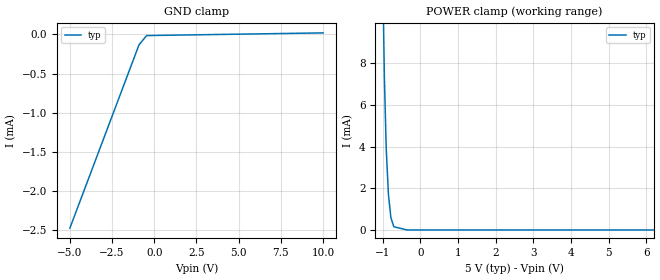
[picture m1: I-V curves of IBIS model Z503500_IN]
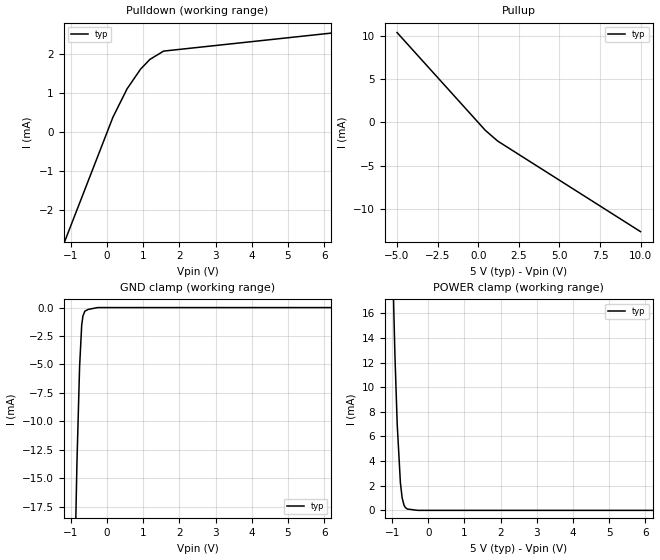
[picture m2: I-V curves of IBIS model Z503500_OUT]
| YOU ARE ONLY AUTHORIZED TO USE THIS SOFTWARE
| ACCORDING TO LICENSOR'S LICENSE RESTRICTIONS.
[IBIS Ver] 3.1
[File Name] mc14023bcl.ibs
[File Rev] 2.0
[Source] Measured and created by ICX Technology
[Date] Friday 7/14/00 9:07:51 AM
[Copyright]
| (C) COPYRIGHT 1993-2000
| MENTOR GRAPHICS CORPORATION
| ICX STANDARD LIBRARY, ICX PROJECT MODELING,
| ICX CUSTOM MODELING, ICX VENDOR MODEL
| ALL RIGHTS RESERVED.
| THE FOLLOWING ARE TRADEMARKS OR SERVICE MARKS OF
| MENTOR GRAPHICS CORPORATION:ICX (R), ICX STANDARD
| LIBRARY(R), ICX PROJECT MODELING(R), ICX CUSTOM
| MODELING(R), qualityIBIS(TM), MODELVIEWER(TM),
| AND MODELEDITOR(TM)
| ALL COPIES OF SOFTWARE, INCLUDING BUT NOT LIMITED TO
| ANY MODIFICATIONS, ENHANCEMENTS OR DERIVATIVE WORKS,
| MUST CONTAIN ALL MENTOR GRAPHICS CORPORATION'S
| NOTICES AND LEGENDS, INCLUDING THOSE EMBEDDED IN
| SOFTWARE AND THOSE AFFIXED TO SOFTWARE MEDIUM
| AND CONTAINER, AS RECEIVED FROM MENTOR GRAPHICS
| CORPORATION.
|  ZAP Model Builder 2.7
[Component] MC14023BCL
[Manufacturer] OnSemiconductor
[Package]
| variable   typ   min   max
R_pkg  .21ohms NA NA
L_pkg  4.543nH NA NA
C_pkg  1.8pF NA NA
[Pin] signal_name  model_name  R_pin  L_pin C_pin
1 IN1A Z503500_IN .22 6.757n 2.434p
2 IN2A Z503500_IN .212 4.757n 1.941p
3 IN1A Z503500_IN .204 3.257n 1.448p
4 IN2B Z503500_IN .196 2.257n .955p
5 IN3B Z503500_IN .204 3.257n 1.448p
6 OUTB Z503500_OUT .212 4.757n 1.941p
7 VSS GND .22 6.757n 2.434p
8 IN3A Z503500_IN .22 6.757n 2.434p
9 OUTA Z503500_OUT .212 4.757n 1.941p
10 OUTC Z503500_OUT .204 3.257n 1.448p
11 IN1C Z503500_IN .196 2.257n .955p
12 IN3C Z503500_IN .204 3.257n 1.448p
13 IN3C Z503500_IN .212 4.757n 1.941p
14 VDD POWER .22 6.757n 2.434p
| Models and submodels in the file (2): Z503500_IN (Input), Z503500_OUT (Output)
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| (C) COPYRIGHT 1993-2000
| MENTOR GRAPHICS CORPORATION
| ICX STANDARD LIBRARY, ICX PROJECT MODELING,
| ICX CUSTOM MODELING, ICX VENDOR MODEL
| ALL RIGHTS RESERVED.
| THE FOLLOWING ARE TRADEMARKS OR SERVICE MARKS OF
| MENTOR GRAPHICS CORPORATION:ICX (R), ICX STANDARD
| LIBRARY(R), ICX PROJECT MODELING(R), ICX CUSTOM
| MODELING(R), qualityIBIS(TM), MODELVIEWER(TM),
| AND MODELEDITOR(TM)
| ALL COPIES OF SOFTWARE, INCLUDING BUT NOT LIMITED TO
| ANY MODIFICATIONS, ENHANCEMENTS OR DERIVATIVE WORKS,
| MUST CONTAIN ALL MENTOR GRAPHICS CORPORATION'S
| NOTICES AND LEGENDS, INCLUDING THOSE EMBEDDED IN
| SOFTWARE AND THOSE AFFIXED TO SOFTWARE MEDIUM
| AND CONTAINER, AS RECEIVED FROM MENTOR GRAPHICS
| CORPORATION.
| Model Application Version 1.89 2/18/99.
[Model] Z503500_IN
Model_type Input
Vinl = 1.500V
Vinh = 3.500V
C_comp 4.000pF NA NA
| variable typ   min   max
[Voltage Range] 5.000V NA NA
[GND Clamp Reference] 0.000V NA NA
[POWER Clamp Reference] 5.000V NA NA
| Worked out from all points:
|   POWER clamp passes 1 mA (typ) near -0.81 V on its own axis
[GND Clamp]
-5V       -2.477mA   NA         NA
-903.3mV  -132.3uA   NA         NA
-451.6mV  -13.96uA   NA         NA
10V       20.14uA    NA         NA
[POWER Clamp]
-5V       981.3mA    NA         NA
-1.142V   36.24mA    NA         NA
-1.011V   13.46mA    NA         NA
-957mV    7.332mA    NA         NA
-908mV    3.91mA     NA         NA
-850mV    1.724mA    NA         NA
-784mV    590.5uA    NA         NA
-707mV    155.9uA    NA         NA
-353.5mV  0A         NA         NA
10V       0A         NA         NA
| (C) COPYRIGHT 1993-2000
| MENTOR GRAPHICS CORPORATION
| ICX STANDARD LIBRARY, ICX PROJECT MODELING,
| ICX CUSTOM MODELING, ICX VENDOR MODEL
| ALL RIGHTS RESERVED.
| THE FOLLOWING ARE TRADEMARKS OR SERVICE MARKS OF
| MENTOR GRAPHICS CORPORATION:ICX (R), ICX STANDARD
| LIBRARY(R), ICX PROJECT MODELING(R), ICX CUSTOM
| MODELING(R), qualityIBIS(TM), MODELVIEWER(TM),
| AND MODELEDITOR(TM)
| ALL COPIES OF SOFTWARE, INCLUDING BUT NOT LIMITED TO
| ANY MODIFICATIONS, ENHANCEMENTS OR DERIVATIVE WORKS,
| MUST CONTAIN ALL MENTOR GRAPHICS CORPORATION'S
| NOTICES AND LEGENDS, INCLUDING THOSE EMBEDDED IN
| SOFTWARE AND THOSE AFFIXED TO SOFTWARE MEDIUM
| AND CONTAINER, AS RECEIVED FROM MENTOR GRAPHICS
| CORPORATION.
| Model Application Version 1.89 2/18/99.
[Model] Z503500_OUT
Model_type Output
Vref=0.000V
Rref=500.0Mohms
Cref=50.00pF
Vmeas=2.500V
C_comp 8.000pF NA NA
| variable typ   min   max
[Voltage Range] 5.000V NA NA
[POWER Clamp Reference] 5.000V NA NA
[Pullup Reference] 5.000V NA NA
[Pulldown Reference] 0.000V NA NA
[GND Clamp Reference] 0.000V NA NA
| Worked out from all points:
|   slope of the pulldown table from 0 to 0.75 V, typ, clamps not added: 539 ohm
|   slope of the pullup table from 0 to 0.75 V, typ, clamps not added: 529 ohm
|   GND clamp passes 1 mA (typ) near -0.67 V on its own axis
|   POWER clamp passes 1 mA (typ) near -0.72 V on its own axis
[GND Clamp]
-5V       -670.3mA   NA         NA
-829.8mV  -13.71mA   NA         NA
-756.6mV  -5.241mA   NA         NA
-697.9mV  -1.538mA   NA         NA
-663.4mV  -732.8uA   NA         NA
-609.6mV  -312uA     NA         NA
-517.2mV  -161.8uA   NA         NA
-258.6mV  0A         NA         NA
10V       0A         NA         NA
[Pulldown]
-5V       -12.02mA   NA         NA
166mV     385.2uA    NA         NA
557.7mV   1.117mA    NA         NA
927.7mV   1.62mA     NA         NA
1.188V    1.873mA    NA         NA
1.566V    2.086mA    NA         NA
10V       2.93mA     NA         NA
[Pullup]
-5V       10.36mA    NA         NA
436mV     -932.5uA   NA         NA
1.201V    -2.178mA   NA         NA
10V       -12.64mA   NA         NA
[POWER Clamp]
-5V       498mA      NA         NA
-923mV    12.67mA    NA         NA
-859mV    6.976mA    NA         NA
-771mV    2.239mA    NA         NA
-723mV    1.017mA    NA         NA
-670mV    413.3uA    NA         NA
-635mV    232uA      NA         NA
-579mV    106.4uA    NA         NA
-289.5mV  0A         NA         NA
10V       0A         NA         NA
[Ramp]
| variable typ min max
dV/dt_r 2.471/20.16n NA NA
dV/dt_f 2.471/26.30n NA NA
R_load = 2.500kOhms
